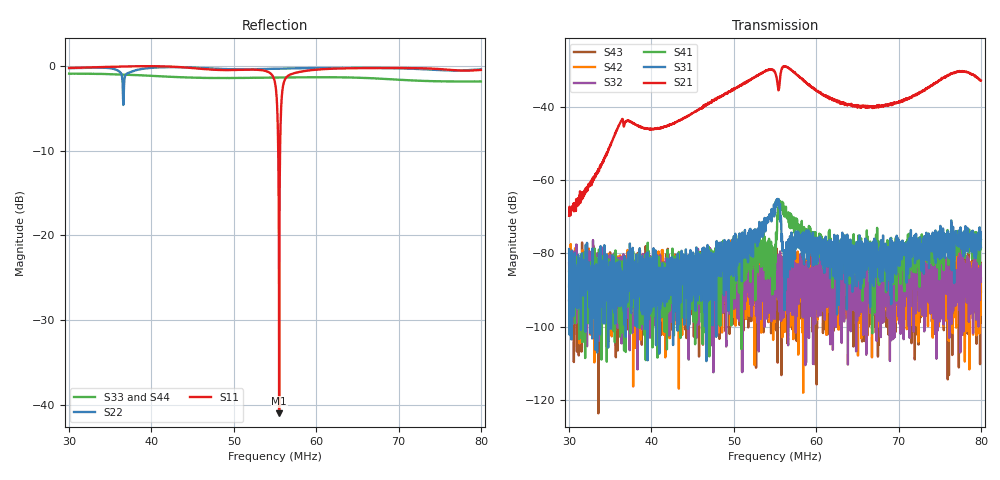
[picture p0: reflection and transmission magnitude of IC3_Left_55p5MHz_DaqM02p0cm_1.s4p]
#  HZ  S  DB  R  50.00
! Rohde & Schwarz Vector Network Analyzer
! Rohde-Schwarz,ZNB8-4Port,1311601044102961,2.82
! Created: UTC 2/13/2019, 8:57:48 AM
! freq[Hz]  db:S11  ang:S11  db:S12  ang:S12  db:S13  ang:S13  db:S14  ang:S14
!  db:S21  ang:S21  db:S22  ang:S22  db:S23  ang:S23  db:S24  ang:S24
!  db:S31  ang:S31  db:S32  ang:S32  db:S33  ang:S33  db:S34  ang:S34
!  db:S41  ang:S41  db:S42  ang:S42  db:S43  ang:S43  db:S44  ang:S44
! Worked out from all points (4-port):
!   2001 points, 30 MHz to 80 MHz, reference 50 ohm
!   strongest paths, dB at 30 MHz, 42.5 MHz, 55 MHz, 67.5 MHz, 80 MHz:
!     S21: -69.8, -44.7, -30.5, -40.0, -32.8
!     S31: -78.8, -89.8, -69.1, -80.2, -78.3
!     S41: -89.0, -85.6, -84.8, -77.8, -76.0
!     S32: -82.7, -92.7, -95.5, -96.3, -87.7
!     S42: -85.0, -84.5, -84.5, -93.7, -86.9
!     S43: -92.8, -93.1, -90.9, -108.2, -90.4
!   lowest |S11| = -41.0 dB at 55.5 MHz (marker M1), VSWR 1.02, Z = 49.1 - j0.129 ohm
!   |S11| at or under -10 dB: 55.38964 MHz to 55.61624 MHz (226.6 kHz wide, 0.408 % of centre)
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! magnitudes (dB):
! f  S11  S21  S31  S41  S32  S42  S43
! 30 MHz  -0.3  -69.8  -78.8  -89.0  -82.7  -85.0  -92.8
! 36.3 MHz  -0.1  -43.9  -94.0  -83.9  -95.8  -96.9  -93.5
! 54.85 MHz  -1.5  -30.2  -68.1  -87.4  -86.8  -93.6  -83.9
! 55.5 MHz  -41.0  -34.9  -67.0  -67.1  -88.1  -87.7  -90.2
! 56.23 MHz  -1.6  -29.0  -79.1  -68.4  -91.1  -87.8  -89.8
! 65.92 MHz  -0.3  -39.9  -78.6  -81.7  -100.5  -94.7  -83.8
! 80 MHz  -0.5  -32.8  -78.3  -76.0  -87.7  -86.9  -90.4
